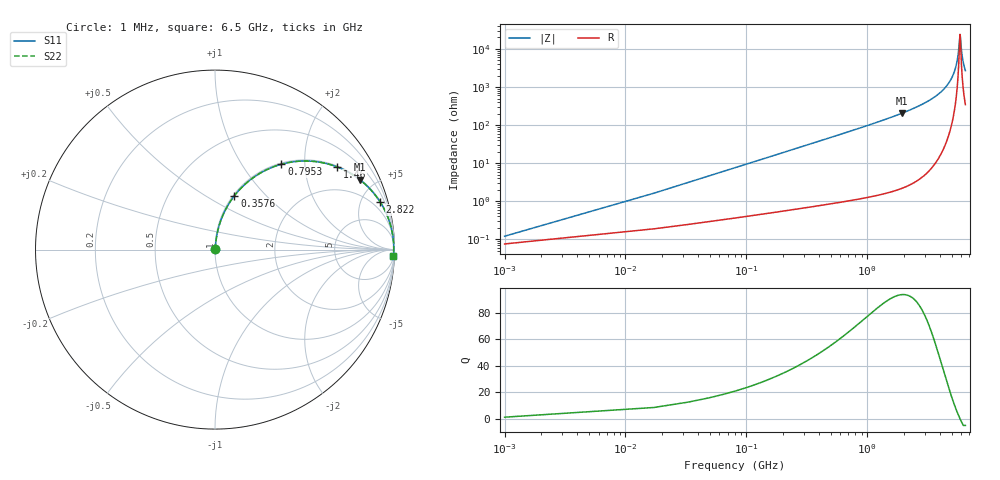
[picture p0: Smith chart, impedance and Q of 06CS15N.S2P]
! Coilcraft 0603CS-15N Chip Inductor
! 21 May 2002
# MHZ S MA R 50
!Freq  MagS11  AngS11  MagS21  AngS21  MagS12  AngS12  MagS22  AngS22
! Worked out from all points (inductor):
!   402 points, 1 MHz to 6.5 GHz, reference 50 ohm
!   read as one part in series: L = 15 nH near 33.42 MHz
!   highest Q = 93.8 at 1.946 GHz (marker M1), where L = 16.9 nH
!   self-resonance near 5.869 GHz
!   S11 on the Smith chart (normalised r, x): 1 MHz: 1.00, +0.00; 357.6 MHz: 1.01, +0.68; 795.3 MHz: 1.02, +1.53; 1.46 GHz: 1.03, +2.93; 2.822 GHz: 1.08, +6.92; 6.5 GHz: 8, -53
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1  0.00121 51.1  0.9992 -0.1  0.9992 -0.1  0.00121 51.1
49.63  0.04668 83.7  0.996 -2.7  0.996 -2.7  0.04668 83.7
82.05  0.07692 82.9  0.9934 -4.4  0.9934 -4.4  0.07692 82.9
179.31  0.166 78.7  0.981 -9.6  0.981 -9.6  0.166 78.7
357.62  0.3185 70.2  0.9411 -18.6  0.9411 -18.6  0.3185 70.2
552.14  0.4617 61.5  0.8792 -27.5  0.8792 -27.5  0.4617 61.5
795.29  0.6027 52.1  0.7893 -37.1  0.7893 -37.1  0.6027 52.1
1087.07  0.7232 43.0  0.6816 -46.3  0.6816 -46.3  0.7232 43.0
1459.9  0.8219 34.1  0.5604 -55.3  0.5604 -55.3  0.8219 34.1
1946.2  0.8959 25.8  0.4347 -63.6  0.4347 -63.6  0.8959 25.8
2173.14  0.918 22.8  0.3868 -66.6  0.3868 -66.6  0.918 22.8
2821.54  0.9576 16.1  0.2769 -73.2  0.2769 -73.2  0.9576 16.1
3259.21  0.9726 12.7  0.2191 -76.5  0.2191 -76.5  0.9726 12.7
4345.28  0.9908 6.3  0.1094 -82.1  0.1094 -82.1  0.9908 6.3
4993.68  0.9948 3.4  0.05856 -83.2  0.05856 -83.2  0.9948 3.4
5431.35  0.9958 1.6  0.02831 -80.7  0.02831 -80.7  0.9958 1.6
5642.08  0.9959 0.8  0.01488 -73.8  0.01488 -73.8  0.9959 0.8
5836.6  0.9959 0.1  0.004642 -27.3  0.004642 -27.3  0.9959 0.1
5869.02  0.9959 0.0  0.004151 -2.0  0.004151 -2.0  0.9959 0.0
5901.44  0.9958 -0.1  0.004562 23.6  0.004562 23.6  0.9958 -0.1
6144.59  0.9955 -0.9  0.01694 74.0  0.01694 74.0  0.9955 -0.9
6500  0.9946 -2.1  0.03691 80.5  0.03691 80.5  0.9946 -2.1
